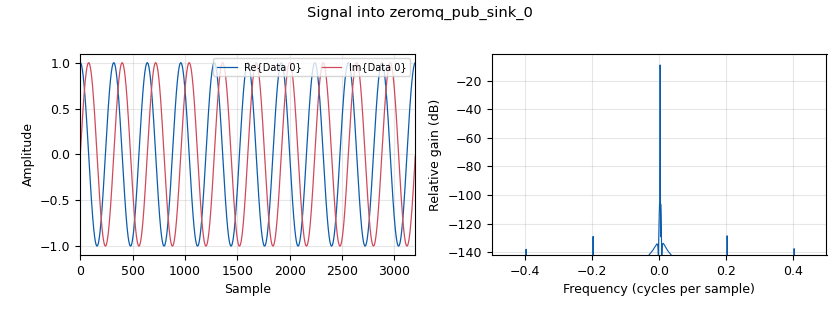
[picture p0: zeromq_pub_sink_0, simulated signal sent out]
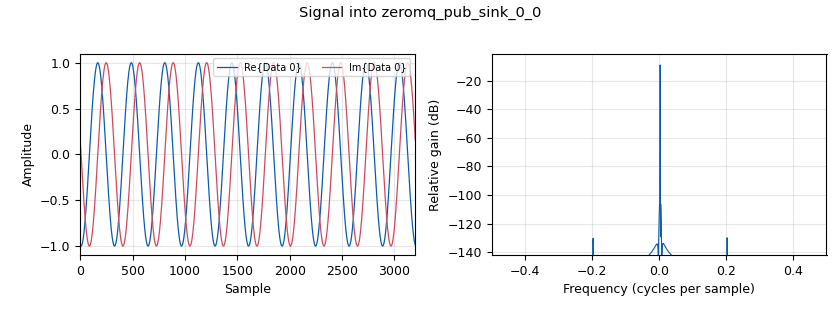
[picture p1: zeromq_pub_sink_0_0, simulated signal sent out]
options:
  parameters:
    author: team_astron
    generate_options: qt_gui
    id: test_transmitter
    output_language: python
    title: transmitter
  states: {}

blocks:
- name: base_freq
  id: variable
  parameters:
    value: '100'
  states: {}
- name: delay
  id: variable
  parameters:
    value: '3'
  states: {}
- name: noise_amp
  id: variable
  parameters:
    value: '0'
  states: {}
- name: samp_rate
  id: variable
  parameters:
    value: '32000'
  states: {}
- name: analog_noise_source_x_0
  id: analog_noise_source_x
  parameters:
    amp: noise_amp
    noise_type: analog.GR_GAUSSIAN
    seed: '0'
    type: complex
  states: {}
- name: analog_noise_source_x_0_0
  id: analog_noise_source_x
  parameters:
    amp: noise_amp
    noise_type: analog.GR_GAUSSIAN
    seed: '0'
    type: complex
  states: {}
- name: analog_sig_source_x_0
  id: analog_sig_source_x
  parameters:
    amp: '1'
    freq: base_freq
    offset: '0'
    phase: '0'
    samp_rate: samp_rate
    type: complex
    waveform: analog.GR_COS_WAVE
  states: {}
- name: analog_sig_source_x_0_0
  id: analog_sig_source_x
  parameters:
    amp: '1'
    freq: base_freq
    offset: '0'
    phase: delay
    samp_rate: samp_rate
    type: complex
    waveform: analog.GR_COS_WAVE
  states: {}
- name: blocks_add_xx_0
  id: blocks_add_xx
  parameters:
    type: complex
  states: {}
- name: blocks_add_xx_0_0
  id: blocks_add_xx
  parameters:
    type: complex
  states: {}
- name: blocks_throttle_0
  id: blocks_throttle
  parameters:
    samples_per_second: samp_rate
    type: complex
  states: {}
- name: blocks_throttle_0_0
  id: blocks_throttle
  parameters:
    samples_per_second: samp_rate
    type: complex
  states: {}
- name: blocks_throttle_0_0_0
  id: blocks_throttle
  parameters:
    samples_per_second: samp_rate
    type: complex
  states: {}
- name: blocks_throttle_0_1
  id: blocks_throttle
  parameters:
    samples_per_second: samp_rate
    type: complex
  states: {}
- name: qtgui_time_sink_x_0
  id: qtgui_time_sink_x
  parameters:
    autoscale: 'True'
    size: '1024'
    srate: samp_rate
    type: complex
  states: {}
- name: qtgui_time_sink_x_0_0
  id: qtgui_time_sink_x
  parameters:
    autoscale: 'True'
    size: '1024'
    srate: samp_rate
    type: complex
  states: {}
- name: zeromq_pub_sink_0
  id: zeromq_pub_sink
  parameters:
    address: tcp://127.0.0.1:50001
    timeout: '100'
    type: complex
  states: {}
- name: zeromq_pub_sink_0_0
  id: zeromq_pub_sink
  parameters:
    address: tcp://127.0.0.1:50002
    timeout: '100'
    type: complex
  states: {}
- name: zeromq_sub_source_0
  id: zeromq_sub_source
  parameters:
    address: tcp://127.0.0.1:50001
    timeout: '100'
    type: complex
  states: {}
- name: zeromq_sub_source_0_0
  id: zeromq_sub_source
  parameters:
    address: tcp://127.0.0.1:50002
    timeout: '100'
    type: complex
  states: {}

connections:
- [analog_noise_source_x_0, '0', blocks_throttle_0_0, '0']
- [analog_noise_source_x_0_0, '0', blocks_throttle_0_0_0, '0']
- [analog_sig_source_x_0, '0', blocks_throttle_0, '0']
- [analog_sig_source_x_0_0, '0', blocks_throttle_0_1, '0']
- [blocks_add_xx_0, '0', zeromq_pub_sink_0, '0']
- [blocks_add_xx_0_0, '0', zeromq_pub_sink_0_0, '0']
- [blocks_throttle_0, '0', blocks_add_xx_0, '1']
- [blocks_throttle_0_0, '0', blocks_add_xx_0, '0']
- [blocks_throttle_0_0_0, '0', blocks_add_xx_0_0, '1']
- [blocks_throttle_0_1, '0', blocks_add_xx_0_0, '0']
- [zeromq_sub_source_0, '0', qtgui_time_sink_x_0, '0']
- [zeromq_sub_source_0_0, '0', qtgui_time_sink_x_0_0, '0']

metadata:
  file_format: 1
